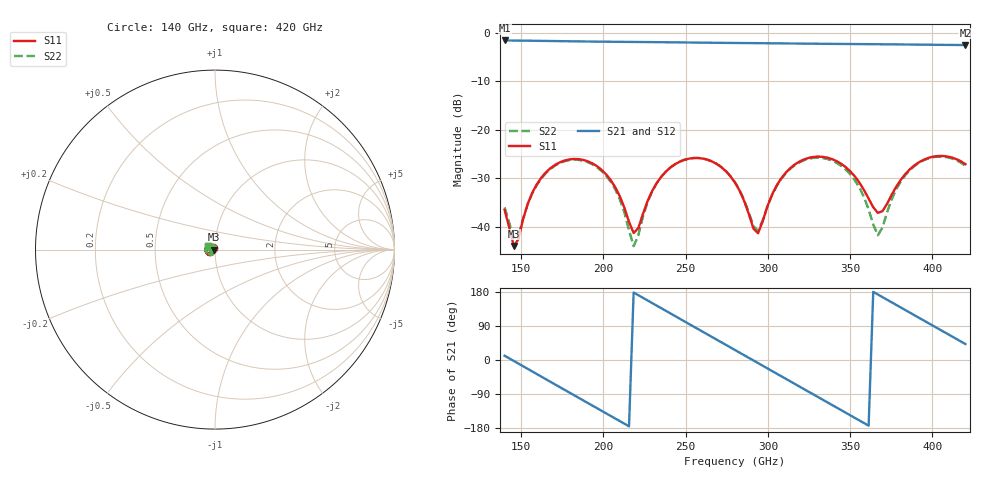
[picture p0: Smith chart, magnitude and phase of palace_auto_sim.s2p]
#  GHZ S DB R 50
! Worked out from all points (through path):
!   101 points, 140 GHz to 420 GHz, reference 50 ohm
!   highest |S21| = -1.55 dB at 140 GHz (marker M1); lowest = -2.5 dB at 420 GHz (marker M2)
!   group delay of S21, straight-line fit = 6.84 ps
!   lowest |S11| = -44.0 dB at 145.6 GHz (marker M3), VSWR 1.01, Z = 49.4 - j0.0904 ohm
!   |S11| at or under -10 dB: start of sweep to end of sweep
!   |S22| runs from -44.0 to -25.5 dB; largest |S21 - S12| = 1.4e-13
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140  -36.53 151.9  -1.55 11.3  -1.55 11.3  -36.01 153.8
145.6  -44.00 -171.7  -1.57 -2.5  -1.57 -2.5  -42.35 -174.6
154  -35.32 -107.2  -1.60 -23.3  -1.60 -23.3  -35.41 -113.1
162.4  -29.83 -117.6  -1.64 -44.0  -1.64 -44.0  -29.98 -121.3
176.4  -26.34 -147.0  -1.71 -78.6  -1.71 -78.6  -26.49 -149.9
187.6  -26.20 -171.8  -1.76 -106.2  -1.76 -106.2  -26.36 -174.8
207.2  -31.83 151.9  -1.83 -154.4  -1.83 -154.4  -32.26 146.7
218.4  -41.29 -172.9  -1.86 178.1  -1.86 178.1  -44.02 -172.0
226.8  -34.77 -120.9  -1.88 157.4  -1.88 157.4  -34.98 -114.6
235.2  -29.67 -127.4  -1.91 136.6  -1.91 136.6  -29.68 -124.4
246.4  -26.58 -148.0  -1.95 109.0  -1.95 109.0  -26.56 -146.5
257.6  -25.82 -171.1  -2.00 81.5  -2.00 81.5  -25.80 -170.2
280  -30.90 147.3  -2.07 26.4  -2.07 26.4  -30.82 147.8
294  -41.36 -161.2  -2.11 -8.1  -2.11 -8.1  -40.84 -164.3
308  -30.06 -128.8  -2.16 -42.5  -2.16 -42.5  -30.17 -131.7
327.6  -25.60 -165.0  -2.22 -90.7  -2.22 -90.7  -25.80 -168.6
350  -28.54 154.8  -2.29 -145.8  -2.29 -145.8  -29.16 147.3
366.8  -37.13 179.0  -2.33 172.9  -2.33 172.9  -41.77 -178.6
375.2  -33.43 -142.5  -2.36 152.2  -2.36 152.2  -34.35 -128.2
383.6  -29.09 -143.5  -2.38 131.6  -2.38 131.6  -29.30 -135.8
397.6  -25.79 -165.2  -2.43 97.2  -2.43 97.2  -25.89 -162.1
420  -27.07 154.8  -2.50 42.2  -2.50 42.2  -27.41 153.1
